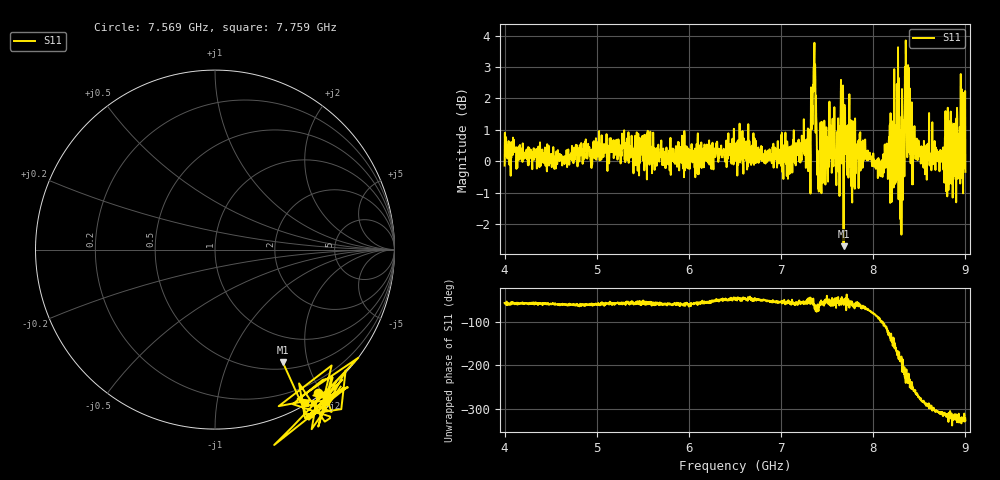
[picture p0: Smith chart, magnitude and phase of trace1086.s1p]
! Created with skrf 1.8.0 (http://scikit-rf.org).
# Hz S RI R 50.0
!freq ReS11 ImS11
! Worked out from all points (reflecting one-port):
!   1601 points, 4 GHz to 9 GHz, reference 50 ohm
!   lowest |S11| = -2.7 dB at 7.678 GHz (marker M1), VSWR 6.48, Z = 29.6 - j80.3 ohm
!   phase of S11 starts at -56 deg and turns -271 deg over the sweep
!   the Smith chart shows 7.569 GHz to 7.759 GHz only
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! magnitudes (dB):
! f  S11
! 4 GHz  -0.1
! 4.625 GHz  -0.1
! 5.25 GHz  0.3
! 5.875 GHz  0.3
! 6.5 GHz  0.6
! 7.125 GHz  0.5
! 7.294 GHz  -0.3
! 7.319 GHz  -1.0
! 7.347 GHz  2.4
! 7.372 GHz  2.6
! 7.412 GHz  -0.9
! 7.512 GHz  0.7
! 7.609 GHz  0.3
! 7.65 GHz  2.6
! 7.678 GHz  -2.7
! 7.75 GHz  -0.2
! 7.869 GHz  0.6
! 8.075 GHz  0.0
! 8.222 GHz  -0.8
! 8.253 GHz  0.0
! 8.312 GHz  2.3
! 8.334 GHz  1.3
! 8.375 GHz  0.9
! 8.425 GHz  0.4
! 8.562 GHz  -0.4
! 8.875 GHz  0.3
! 8.972 GHz  0.2
! 9 GHz  -0.3
